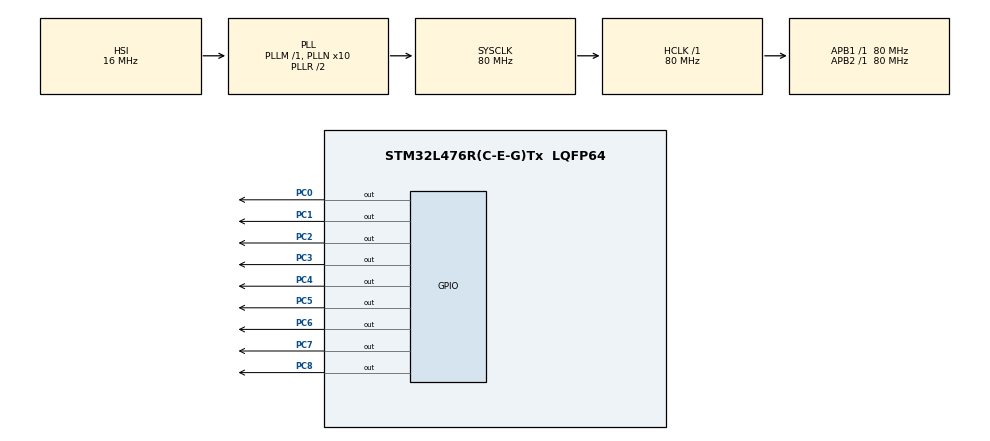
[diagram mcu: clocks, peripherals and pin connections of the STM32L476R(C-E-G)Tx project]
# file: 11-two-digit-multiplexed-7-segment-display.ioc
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Mcu.Family=STM32L4
Mcu.Name=STM32L476R(C-E-G)Tx
Mcu.Package=LQFP64
NVIC.PriorityGroup=NVIC_PRIORITYGROUP_4
PC0.Signal=GPIO_Output
PC1.Signal=GPIO_Output
PC2.Signal=GPIO_Output
PC3.Signal=GPIO_Output
PC4.Signal=GPIO_Output
PC5.Signal=GPIO_Output
PC6.Signal=GPIO_Output
PC7.Signal=GPIO_Output
PC8.Signal=GPIO_Output
ProjectManager.HeapSize=0x200
ProjectManager.StackSize=0x400
ProjectManager.TargetToolchain=STM32CubeIDE
RCC.ADCFreq_Value=64000000
RCC.AHBFreq_Value=80000000
RCC.APB1Freq_Value=80000000
RCC.APB1TimFreq_Value=80000000
RCC.APB2Freq_Value=80000000
RCC.APB2TimFreq_Value=80000000
RCC.CortexFreq_Value=80000000
RCC.HCLKFreq_Value=80000000
RCC.HSE_VALUE=8000000
RCC.HSI_VALUE=16000000
RCC.MSI_VALUE=4000000
RCC.PLLN=10
RCC.PLLSourceVirtual=RCC_PLLSOURCE_HSI
RCC.PREFETCH_ENABLE=1
RCC.SYSCLKFreq_VALUE=80000000
RCC.SYSCLKSource=RCC_SYSCLKSOURCE_PLLCLK
RCC.USBFreq_Value=64000000
RCC.VCOOutputFreq_Value=160000000
board=NUCLEO-L476RG

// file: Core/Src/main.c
/* USER CODE BEGIN Header */
/**
  ******************************************************************************
  * @file           : main.c
  * @brief          : Main program body
  ******************************************************************************
  * @attention
  *
  * Copyright (c) 2025 STMicroelectronics.
  * All rights reserved.
  *
  * This software is licensed under terms that can be found in the LICENSE file
  * in the root directory of this software component.
  * If no LICENSE file comes with this software, it is provided AS-IS.
  *
  ******************************************************************************
  */
/* USER CODE END Header */
#include "main.h"

/* USER CODE BEGIN PD */

int DisplayNumber = 36;    //display number
int MSD, LSD;    //display MSD, LSD number

/* USER CODE END PD */

void SystemClock_Config(void);
static void MX_GPIO_Init(void);

/* USER CODE BEGIN 0 */
//array of register hex number
int LED_Hex[] = {
  0x3F,    // 0
  0x06,    // 1
  0x5B,    // 2
  0x4F,    // 3
  0x66,    // 4
  0x6D,    // 5
  0x7D,    // 6
  0x07,    // 7
  0x7F,    // 8
  0x6F     // 9
};
/* USER CODE END 0 */

int main(void)
{

  /* MCU Configuration--------------------------------------------------------*/

  /* Reset of all peripherals, Initializes the Flash interface and the Systick. */
  HAL_Init();

  /* Configure the system clock */
  SystemClock_Config();

  /* Initialize all configured peripherals */
  MX_GPIO_Init();
  /* USER CODE BEGIN 2 */

  //reset digit signal
  HAL_GPIO_WritePin(GPIOC, digit1, GPIO_PIN_RESET);
  HAL_GPIO_WritePin(GPIOC, digit2, GPIO_PIN_RESET);

  /* USER CODE END 2 */

  /* Infinite loop */
  /* USER CODE BEGIN WHILE */
  while (1)
  {
    LSD = DisplayNumber % 10;
    MSD = (DisplayNumber - LSD) / 10;

    //display MSD
    GPIOC -> ODR = LED_Hex[MSD];    //write to output data register
    HAL_GPIO_WritePin(GPIOC, digit1, GPIO_PIN_SET);    //digit1 enabled
    HAL_Delay(10);    //delay
    HAL_GPIO_WritePin(GPIOC, digit1, GPIO_PIN_RESET);    //digit1 disabled

    GPIOC -> ODR = LED_Hex[LSD];    //write to output data register
    HAL_GPIO_WritePin(GPIOC, digit2, GPIO_PIN_SET);    //digit1 enabled
    HAL_Delay(10);    //delay
    HAL_GPIO_WritePin(GPIOC, digit2, GPIO_PIN_RESET);    //digit1 disabled
    /* USER CODE END WHILE */

  }
}

void SystemClock_Config(void)
{
  RCC_OscInitTypeDef RCC_OscInitStruct = {0};
  RCC_ClkInitTypeDef RCC_ClkInitStruct = {0};

  /** Configure the main internal regulator output voltage
  */
  if (HAL_PWREx_ControlVoltageScaling(PWR_REGULATOR_VOLTAGE_SCALE1) != HAL_OK)
  {
    Error_Handler();
  }

  /** Initializes the RCC Oscillators according to the specified parameters
  * in the RCC_OscInitTypeDef structure.
  */
  RCC_OscInitStruct.OscillatorType = RCC_OSCILLATORTYPE_HSI;
  RCC_OscInitStruct.HSIState = RCC_HSI_ON;
  RCC_OscInitStruct.HSICalibrationValue = RCC_HSICALIBRATION_DEFAULT;
  RCC_OscInitStruct.PLL.PLLState = RCC_PLL_ON;
  RCC_OscInitStruct.PLL.PLLSource = RCC_PLLSOURCE_HSI;
  RCC_OscInitStruct.PLL.PLLM = 1;
  RCC_OscInitStruct.PLL.PLLN = 10;
  RCC_OscInitStruct.PLL.PLLP = RCC_PLLP_DIV7;
  RCC_OscInitStruct.PLL.PLLQ = RCC_PLLQ_DIV2;
  RCC_OscInitStruct.PLL.PLLR = RCC_PLLR_DIV2;
  if (HAL_RCC_OscConfig(&RCC_OscInitStruct) != HAL_OK)
  {
    Error_Handler();
  }

  /** Initializes the CPU, AHB and APB buses clocks
  */
  RCC_ClkInitStruct.ClockType = RCC_CLOCKTYPE_HCLK|RCC_CLOCKTYPE_SYSCLK
                              |RCC_CLOCKTYPE_PCLK1|RCC_CLOCKTYPE_PCLK2;
  RCC_ClkInitStruct.SYSCLKSource = RCC_SYSCLKSOURCE_PLLCLK;
  RCC_ClkInitStruct.AHBCLKDivider = RCC_SYSCLK_DIV1;
  RCC_ClkInitStruct.APB1CLKDivider = RCC_HCLK_DIV1;
  RCC_ClkInitStruct.APB2CLKDivider = RCC_HCLK_DIV1;

  if (HAL_RCC_ClockConfig(&RCC_ClkInitStruct, FLASH_LATENCY_4) != HAL_OK)
  {
    Error_Handler();
  }
}

static void MX_GPIO_Init(void)
{
  GPIO_InitTypeDef GPIO_InitStruct = {0};

  /* GPIO Ports Clock Enable */
  __HAL_RCC_GPIOC_CLK_ENABLE();

  /*Configure GPIO pin Output Level */
  HAL_GPIO_WritePin(GPIOC, GPIO_PIN_0|GPIO_PIN_1|GPIO_PIN_2|GPIO_PIN_3
                          |GPIO_PIN_4|GPIO_PIN_5|GPIO_PIN_6|GPIO_PIN_7
                          |GPIO_PIN_8, GPIO_PIN_RESET);

  /*Configure GPIO pins : PC0 PC1 PC2 PC3
                           PC4 PC5 PC6 PC7
                           PC8 */
  GPIO_InitStruct.Pin = GPIO_PIN_0|GPIO_PIN_1|GPIO_PIN_2|GPIO_PIN_3
                          |GPIO_PIN_4|GPIO_PIN_5|GPIO_PIN_6|GPIO_PIN_7
                          |GPIO_PIN_8;
  GPIO_InitStruct.Mode = GPIO_MODE_OUTPUT_PP;
  GPIO_InitStruct.Pull = GPIO_NOPULL;
  GPIO_InitStruct.Speed = GPIO_SPEED_FREQ_LOW;
  HAL_GPIO_Init(GPIOC, &GPIO_InitStruct);

}

void Error_Handler(void)
{
  __disable_irq();
  while (1)
  {
  }
}
